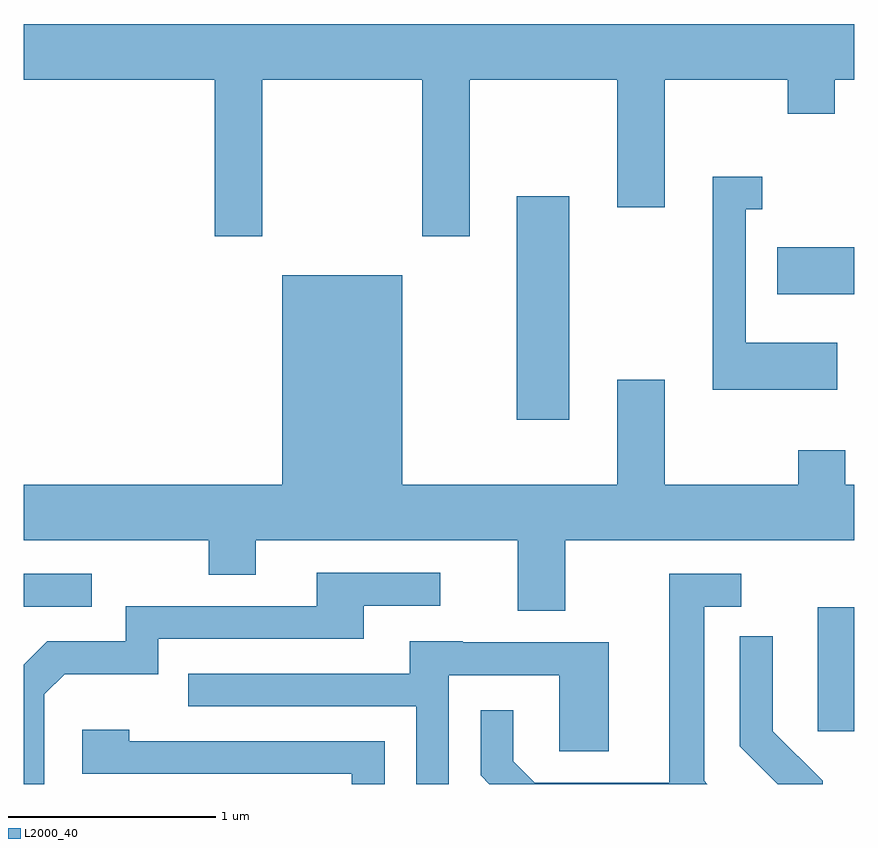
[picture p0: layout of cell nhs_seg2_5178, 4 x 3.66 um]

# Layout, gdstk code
import gdstk
lib = gdstk.Library(unit=1e-6, precision=1e-09)
def R(c, l, rs):  # rectangles x0, y0, x1, y1
    for r in rs: c.add(gdstk.rectangle(r[:2], r[2:], *l))
def P(c, l, *ps):  # polygons
    for p in ps: c.add(gdstk.Polygon(p, *l))
L2000_40 = (2000, 40)

nhs_seg2_5178 = lib.new_cell('nhs_seg2_5178')
R(nhs_seg2_5178, L2000_40, [(341.436,1054.056,341.611,1054.654), (337.611,1054.656,337.938,1054.814), (339.986,1055.556,340.239,1056.634), (341.241,1056.161,341.611,1056.389)])
P(nhs_seg2_5178, L2000_40, [(338.759,1057.196),(339.531,1057.196),(339.531,1056.441),(339.759,1056.441),(339.759,1057.196),(340.471,1057.196),(340.471,1056.581),(340.699,1056.581),(340.699,1057.196),(341.291,1057.196),(341.291,1057.031),(341.519,1057.031),(341.519,1057.196),(341.611,1057.196),(341.611,1057.464),(337.611,1057.464),(337.611,1057.196),(338.531,1057.196),(338.531,1056.441),(338.759,1056.441)],
  [(341.529,1055.929),(341.089,1055.929),(341.089,1056.571),(341.168,1056.571),(341.168,1056.729),(340.931,1056.729),(340.931,1055.701),(341.529,1055.701)],
  [(340.219,1054.976),(341.611,1054.976),(341.611,1055.244),(341.569,1055.244),(341.569,1055.409),(341.341,1055.409),(341.341,1055.244),(340.699,1055.244),(340.699,1055.749),(340.471,1055.749),(340.471,1055.244),(339.434,1055.244),(339.434,1056.254),(338.856,1056.254),(338.856,1055.244),(337.611,1055.244),(337.611,1054.976),(338.501,1054.976),(338.501,1054.811),(338.729,1054.811),(338.729,1054.976),(339.991,1054.976),(339.991,1054.636),(340.219,1054.636)],
  [(337.709,1054.234),(337.807,1054.331),(338.259,1054.331),(338.259,1054.501),(339.249,1054.501),(339.249,1054.661),(339.618,1054.661),(339.618,1054.819),(339.021,1054.819),(339.021,1054.659),(338.101,1054.659),(338.101,1054.489),(337.724,1054.489),(337.611,1054.377),(337.611,1053.802),(337.709,1053.802)],
  [(340.889,1053.817),(340.889,1054.656),(341.068,1054.656),(341.068,1054.814),(340.721,1054.814),(340.721,1053.809),(340.072,1053.809),(339.969,1053.912),(339.969,1054.158),(339.811,1054.158),(339.811,1053.844),(339.853,1053.802),(340.904,1053.802)],
  [(341.459,1053.817),(341.219,1054.057),(341.219,1054.513),(341.061,1054.513),(341.061,1053.984),(341.243,1053.802),(341.459,1053.802)],
  [(339.659,1054.326),(340.191,1054.326),(340.191,1053.961),(340.429,1053.961),(340.429,1054.484),(339.725,1054.484),(339.725,1054.489),(339.471,1054.489),(339.471,1054.334),(338.403,1054.334),(338.403,1054.176),(339.501,1054.176),(339.501,1053.802),(339.659,1053.802)],
  [(339.349,1054.009),(338.119,1054.009),(338.119,1054.064),(337.891,1054.064),(337.891,1053.851),(339.191,1053.851),(339.191,1053.802),(339.349,1053.802)])

lib.write_gds('nhs_seg2_5178.gds')
